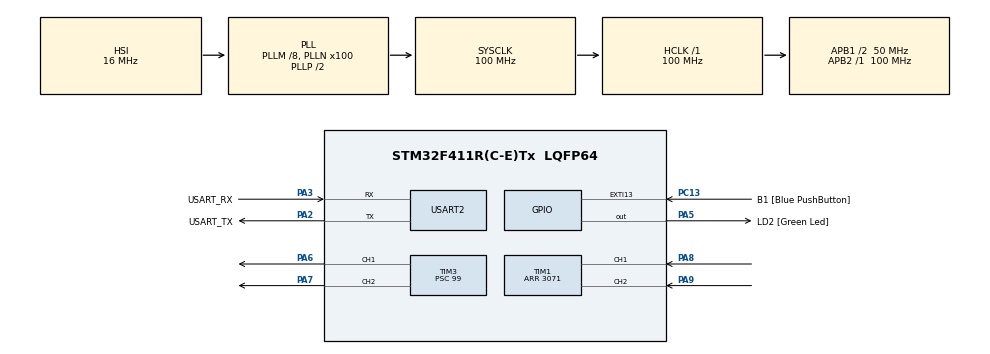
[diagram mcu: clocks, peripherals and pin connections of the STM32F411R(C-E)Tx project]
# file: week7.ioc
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Mcu.Family=STM32F4
Mcu.Name=STM32F411R(C-E)Tx
Mcu.Package=LQFP64
NVIC.PriorityGroup=NVIC_PRIORITYGROUP_0
PA13.GPIO_Label=TMS
PA13.Mode=Serial_Wire
PA13.Signal=SYS_JTMS-SWDIO
PA14.GPIO_Label=TCK
PA14.Mode=Serial_Wire
PA14.Signal=SYS_JTCK-SWCLK
PA2.GPIO_Label=USART_TX
PA2.Mode=Asynchronous
PA2.Signal=USART2_TX
PA3.GPIO_Label=USART_RX
PA3.Mode=Asynchronous
PA3.Signal=USART2_RX
PA5.GPIO_Label=LD2 [Green Led]
PA5.Signal=GPIO_Output
PA6.Signal=S_TIM3_CH1
PA7.Signal=S_TIM3_CH2
PA8.Signal=S_TIM1_CH1
PA9.Signal=S_TIM1_CH2
PB3.GPIO_Label=SWO
PB3.Signal=SYS_JTDO-SWO
PC13-ANTI_TAMP.GPIO_Label=B1 [Blue PushButton]
PC13-ANTI_TAMP.GPIO_ModeDefaultEXTI=GPIO_MODE_IT_FALLING
PC13-ANTI_TAMP.Signal=GPXTI13
PC14-OSC32_IN.Mode=LSE-External-Oscillator
PC14-OSC32_IN.Signal=RCC_OSC32_IN
PC15-OSC32_OUT.Mode=LSE-External-Oscillator
PC15-OSC32_OUT.Signal=RCC_OSC32_OUT
PH0\ -\ OSC_IN.Mode=HSE-External-Clock-Source
PH0\ -\ OSC_IN.Signal=RCC_OSC_IN
PH1\ -\ OSC_OUT.Mode=HSE-External-Clock-Source
PH1\ -\ OSC_OUT.Signal=RCC_OSC_OUT
ProjectManager.HeapSize=0x200
ProjectManager.StackSize=0x400
ProjectManager.TargetToolchain=STM32CubeIDE
RCC.48MHZClocksFreq_Value=50000000
RCC.AHBFreq_Value=100000000
RCC.APB1CLKDivider=RCC_HCLK_DIV2
RCC.APB1Freq_Value=50000000
RCC.APB1TimFreq_Value=100000000
RCC.APB2Freq_Value=100000000
RCC.APB2TimFreq_Value=100000000
RCC.CortexFreq_Value=100000000
RCC.FLatency-AdvancedSettings=FLASH_LATENCY_3
RCC.HCLKFreq_Value=100000000
RCC.HSE_VALUE=8000000
RCC.HSI_VALUE=16000000
RCC.PLLM=8
RCC.PLLN=100
RCC.SYSCLKFreq_VALUE=100000000
RCC.SYSCLKSource=RCC_SYSCLKSOURCE_PLLCLK
RCC.VCOOutputFreq_Value=200000000
SH.S_TIM1_CH1.0=TIM1_CH1,Encoder_Interface
SH.S_TIM1_CH2.0=TIM1_CH2,Encoder_Interface
SH.S_TIM3_CH1.0=TIM3_CH1,PWM Generation1 CH1
SH.S_TIM3_CH2.0=TIM3_CH2,PWM Generation2 CH2
TIM1.Period=3071
TIM2.Prescaler=99
TIM3.Channel-PWM\ Generation1\ CH1=TIM_CHANNEL_1
TIM3.Channel-PWM\ Generation2\ CH2=TIM_CHANNEL_2
TIM3.Period=10000
TIM3.Prescaler=99
USART2.VirtualMode=VM_ASYNC
VP_TIM2_VS_ClockSourceINT.Mode=Internal
VP_TIM3_VS_ClockSourceINT.Mode=Internal
board=NUCLEO-F411RE

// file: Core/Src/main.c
/* USER CODE BEGIN Header */
/**
 ******************************************************************************
 * @file           : main.c
 * @brief          : Main program body
 ******************************************************************************
 * @attention
 *
 * <h2><center>&copy; Copyright (c) 2021 STMicroelectronics.
 * All rights reserved.</center></h2>
 *
 * This software component is licensed by ST under BSD 3-Clause license,
 * the "License"; You may not use this file except in compliance with the
 * License. You may obtain a copy of the License at:
 *                        opensource.org/licenses/BSD-3-Clause
 *
 ******************************************************************************
 */
/* USER CODE END Header */
#include "main.h"

TIM_HandleTypeDef htim1;
TIM_HandleTypeDef htim2;
TIM_HandleTypeDef htim3;

UART_HandleTypeDef huart2;

/* USER CODE BEGIN PV */
uint64_t _micros = 0;
float EncoderVel = 0;
uint64_t Timestamp_Encoder = 0;
int RPMinput = 0;
float error[2] = {0};
float sumerror = 0;
int Kp = 0;
int Kd = 0;
int Ki = 0;
float outputPWM[3] = {0};
float RPMcheck = 0;
/* USER CODE END PV */

void SystemClock_Config(void);
static void MX_GPIO_Init(void);
static void MX_USART2_UART_Init(void);
static void MX_TIM1_Init(void);
static void MX_TIM2_Init(void);
static void MX_TIM3_Init(void);
/* USER CODE BEGIN PFP */
uint64_t micros();
float EncoderVelocity_Update();

/* USER CODE END PFP */

int main(void)
{

  /* MCU Configuration--------------------------------------------------------*/

  /* Reset of all peripherals, Initializes the Flash interface and the Systick. */
  HAL_Init();

  /* Configure the system clock */
  SystemClock_Config();

  /* Initialize all configured peripherals */
  MX_GPIO_Init();
  MX_USART2_UART_Init();
  MX_TIM1_Init();
  MX_TIM2_Init();
  MX_TIM3_Init();
  /* USER CODE BEGIN 2 */
	HAL_TIM_Base_Start_IT(&htim2);
	HAL_TIM_Encoder_Start(&htim1, TIM_CHANNEL_ALL);
	HAL_TIM_Base_Start(&htim3);
	HAL_TIM_PWM_Start(&htim3, TIM_CHANNEL_1);
	HAL_TIM_PWM_Start(&htim3, TIM_CHANNEL_2);
  /* USER CODE END 2 */

  /* Infinite loop */
	while (1)
	{

    /* USER CODE BEGIN 3 */

		//RAW Read
		if (micros() - Timestamp_Encoder >= 1000)
		{
			Timestamp_Encoder = micros();

			EncoderVel = (EncoderVel * 99 + EncoderVelocity_Update()) / 100.0;
			RPMcheck = ((RPMcheck * 99 + EncoderVel/3072) / 100);
			error[1] = (RPMinput) - RPMcheck;
			sumerror += error[1];
			outputPWM[0] = (Kp*error[1]) + (Ki*sumerror) + Kd*(error[1]-error[0]);
			error[0] = error[1];
			if(RPMinput == 0){
				outputPWM[1] = 0;
				outputPWM[2] = 0;
			}else if(RPMinput > 0){
				outputPWM[1] = outputPWM[0];
				outputPWM[2] = 0;
			}else if(outputPWM[0] < 0){
				outputPWM[1] = 0;
				outputPWM[2] = (outputPWM[0])*-1;
			}
			__HAL_TIM_SET_COMPARE(&htim3, TIM_CHANNEL_1, outputPWM[1]);
			__HAL_TIM_SET_COMPARE(&htim3, TIM_CHANNEL_2, outputPWM[2]);
		}

		//Add LPF?
//		if (micros() - Timestamp_Encoder >= 100)
//		{
//			Timestamp_Encoder = micros();
//			EncoderVel = (EncoderVel * 99 + EncoderVelocity_Update()) / 100.0;
//		}

	}
  /* USER CODE END 3 */
}

void SystemClock_Config(void)
{
  RCC_OscInitTypeDef RCC_OscInitStruct = {0};
  RCC_ClkInitTypeDef RCC_ClkInitStruct = {0};

  /** Configure the main internal regulator output voltage
  */
  __HAL_RCC_PWR_CLK_ENABLE();
  __HAL_PWR_VOLTAGESCALING_CONFIG(PWR_REGULATOR_VOLTAGE_SCALE1);
  /** Initializes the RCC Oscillators according to the specified parameters
  * in the RCC_OscInitTypeDef structure.
  */
  RCC_OscInitStruct.OscillatorType = RCC_OSCILLATORTYPE_HSI;
  RCC_OscInitStruct.HSIState = RCC_HSI_ON;
  RCC_OscInitStruct.HSICalibrationValue = RCC_HSICALIBRATION_DEFAULT;
  RCC_OscInitStruct.PLL.PLLState = RCC_PLL_ON;
  RCC_OscInitStruct.PLL.PLLSource = RCC_PLLSOURCE_HSI;
  RCC_OscInitStruct.PLL.PLLM = 8;
  RCC_OscInitStruct.PLL.PLLN = 100;
  RCC_OscInitStruct.PLL.PLLP = RCC_PLLP_DIV2;
  RCC_OscInitStruct.PLL.PLLQ = 4;
  if (HAL_RCC_OscConfig(&RCC_OscInitStruct) != HAL_OK)
  {
    Error_Handler();
  }
  /** Initializes the CPU, AHB and APB buses clocks
  */
  RCC_ClkInitStruct.ClockType = RCC_CLOCKTYPE_HCLK|RCC_CLOCKTYPE_SYSCLK
                              |RCC_CLOCKTYPE_PCLK1|RCC_CLOCKTYPE_PCLK2;
  RCC_ClkInitStruct.SYSCLKSource = RCC_SYSCLKSOURCE_PLLCLK;
  RCC_ClkInitStruct.AHBCLKDivider = RCC_SYSCLK_DIV1;
  RCC_ClkInitStruct.APB1CLKDivider = RCC_HCLK_DIV2;
  RCC_ClkInitStruct.APB2CLKDivider = RCC_HCLK_DIV1;

  if (HAL_RCC_ClockConfig(&RCC_ClkInitStruct, FLASH_LATENCY_3) != HAL_OK)
  {
    Error_Handler();
  }
}

static void MX_TIM1_Init(void)
{

  TIM_Encoder_InitTypeDef sConfig = {0};
  TIM_MasterConfigTypeDef sMasterConfig = {0};

  htim1.Instance = TIM1;
  htim1.Init.Prescaler = 0;
  htim1.Init.CounterMode = TIM_COUNTERMODE_UP;
  htim1.Init.Period = 3071;
  htim1.Init.ClockDivision = TIM_CLOCKDIVISION_DIV1;
  htim1.Init.RepetitionCounter = 0;
  htim1.Init.AutoReloadPreload = TIM_AUTORELOAD_PRELOAD_DISABLE;
  sConfig.EncoderMode = TIM_ENCODERMODE_TI1;
  sConfig.IC1Polarity = TIM_ICPOLARITY_RISING;
  sConfig.IC1Selection = TIM_ICSELECTION_DIRECTTI;
  sConfig.IC1Prescaler = TIM_ICPSC_DIV1;
  sConfig.IC1Filter = 0;
  sConfig.IC2Polarity = TIM_ICPOLARITY_RISING;
  sConfig.IC2Selection = TIM_ICSELECTION_DIRECTTI;
  sConfig.IC2Prescaler = TIM_ICPSC_DIV1;
  sConfig.IC2Filter = 0;
  if (HAL_TIM_Encoder_Init(&htim1, &sConfig) != HAL_OK)
  {
    Error_Handler();
  }
  sMasterConfig.MasterOutputTrigger = TIM_TRGO_RESET;
  sMasterConfig.MasterSlaveMode = TIM_MASTERSLAVEMODE_DISABLE;
  if (HAL_TIMEx_MasterConfigSynchronization(&htim1, &sMasterConfig) != HAL_OK)
  {
    Error_Handler();
  }

}

static void MX_TIM2_Init(void)
{

  TIM_ClockConfigTypeDef sClockSourceConfig = {0};
  TIM_MasterConfigTypeDef sMasterConfig = {0};

  htim2.Instance = TIM2;
  htim2.Init.Prescaler = 99;
  htim2.Init.CounterMode = TIM_COUNTERMODE_UP;
  htim2.Init.Period = 4294967295;
  htim2.Init.ClockDivision = TIM_CLOCKDIVISION_DIV1;
  htim2.Init.AutoReloadPreload = TIM_AUTORELOAD_PRELOAD_DISABLE;
  if (HAL_TIM_Base_Init(&htim2) != HAL_OK)
  {
    Error_Handler();
  }
  sClockSourceConfig.ClockSource = TIM_CLOCKSOURCE_INTERNAL;
  if (HAL_TIM_ConfigClockSource(&htim2, &sClockSourceConfig) != HAL_OK)
  {
    Error_Handler();
  }
  sMasterConfig.MasterOutputTrigger = TIM_TRGO_RESET;
  sMasterConfig.MasterSlaveMode = TIM_MASTERSLAVEMODE_DISABLE;
  if (HAL_TIMEx_MasterConfigSynchronization(&htim2, &sMasterConfig) != HAL_OK)
  {
    Error_Handler();
  }

}

static void MX_TIM3_Init(void)
{

  TIM_ClockConfigTypeDef sClockSourceConfig = {0};
  TIM_MasterConfigTypeDef sMasterConfig = {0};
  TIM_OC_InitTypeDef sConfigOC = {0};

  htim3.Instance = TIM3;
  htim3.Init.Prescaler = 99;
  htim3.Init.CounterMode = TIM_COUNTERMODE_UP;
  htim3.Init.Period = 10000;
  htim3.Init.ClockDivision = TIM_CLOCKDIVISION_DIV1;
  htim3.Init.AutoReloadPreload = TIM_AUTORELOAD_PRELOAD_DISABLE;
  if (HAL_TIM_Base_Init(&htim3) != HAL_OK)
  {
    Error_Handler();
  }
  sClockSourceConfig.ClockSource = TIM_CLOCKSOURCE_INTERNAL;
  if (HAL_TIM_ConfigClockSource(&htim3, &sClockSourceConfig) != HAL_OK)
  {
    Error_Handler();
  }
  if (HAL_TIM_PWM_Init(&htim3) != HAL_OK)
  {
    Error_Handler();
  }
  sMasterConfig.MasterOutputTrigger = TIM_TRGO_RESET;
  sMasterConfig.MasterSlaveMode = TIM_MASTERSLAVEMODE_DISABLE;
  if (HAL_TIMEx_MasterConfigSynchronization(&htim3, &sMasterConfig) != HAL_OK)
  {
    Error_Handler();
  }
  sConfigOC.OCMode = TIM_OCMODE_PWM1;
  sConfigOC.Pulse = 0;
  sConfigOC.OCPolarity = TIM_OCPOLARITY_HIGH;
  sConfigOC.OCFastMode = TIM_OCFAST_DISABLE;
  if (HAL_TIM_PWM_ConfigChannel(&htim3, &sConfigOC, TIM_CHANNEL_1) != HAL_OK)
  {
    Error_Handler();
  }
  if (HAL_TIM_PWM_ConfigChannel(&htim3, &sConfigOC, TIM_CHANNEL_2) != HAL_OK)
  {
    Error_Handler();
  }
  HAL_TIM_MspPostInit(&htim3);

}

static void MX_USART2_UART_Init(void)
{

  huart2.Instance = USART2;
  huart2.Init.BaudRate = 115200;
  huart2.Init.WordLength = UART_WORDLENGTH_8B;
  huart2.Init.StopBits = UART_STOPBITS_1;
  huart2.Init.Parity = UART_PARITY_NONE;
  huart2.Init.Mode = UART_MODE_TX_RX;
  huart2.Init.HwFlowCtl = UART_HWCONTROL_NONE;
  huart2.Init.OverSampling = UART_OVERSAMPLING_16;
  if (HAL_UART_Init(&huart2) != HAL_OK)
  {
    Error_Handler();
  }

}

static void MX_GPIO_Init(void)
{
  GPIO_InitTypeDef GPIO_InitStruct = {0};

  /* GPIO Ports Clock Enable */
  __HAL_RCC_GPIOC_CLK_ENABLE();
  __HAL_RCC_GPIOH_CLK_ENABLE();
  __HAL_RCC_GPIOA_CLK_ENABLE();
  __HAL_RCC_GPIOB_CLK_ENABLE();

  /*Configure GPIO pin Output Level */
  HAL_GPIO_WritePin(LD2_GPIO_Port, LD2_Pin, GPIO_PIN_RESET);

  /*Configure GPIO pin : B1_Pin */
  GPIO_InitStruct.Pin = B1_Pin;
  GPIO_InitStruct.Mode = GPIO_MODE_IT_FALLING;
  GPIO_InitStruct.Pull = GPIO_NOPULL;
  HAL_GPIO_Init(B1_GPIO_Port, &GPIO_InitStruct);

  /*Configure GPIO pin : LD2_Pin */
  GPIO_InitStruct.Pin = LD2_Pin;
  GPIO_InitStruct.Mode = GPIO_MODE_OUTPUT_PP;
  GPIO_InitStruct.Pull = GPIO_NOPULL;
  GPIO_InitStruct.Speed = GPIO_SPEED_FREQ_LOW;
  HAL_GPIO_Init(LD2_GPIO_Port, &GPIO_InitStruct);

}

/* USER CODE BEGIN 4 */
#define  HTIM_ENCODER htim1
#define  MAX_SUBPOSITION_OVERFLOW 1536
#define  MAX_ENCODER_PERIOD 3072

float EncoderVelocity_Update()
{
	//Save Last state
	static uint32_t EncoderLastPosition = 0;
	static uint64_t EncoderLastTimestamp = 0;

	//read data
	uint32_t EncoderNowPosition = HTIM_ENCODER.Instance->CNT;
	uint64_t EncoderNowTimestamp = micros();

	int32_t EncoderPositionDiff;
	uint64_t EncoderTimeDiff;

	EncoderTimeDiff = EncoderNowTimestamp - EncoderLastTimestamp;
	EncoderPositionDiff = EncoderNowPosition - EncoderLastPosition;

	//compensate overflow and underflow
	if (EncoderPositionDiff >= MAX_SUBPOSITION_OVERFLOW)
	{
		EncoderPositionDiff -= MAX_ENCODER_PERIOD;
	}
	else if (-EncoderPositionDiff >= MAX_SUBPOSITION_OVERFLOW)
	{
		EncoderPositionDiff += MAX_ENCODER_PERIOD;
	}

	//Update Position and time
	EncoderLastPosition = EncoderNowPosition;
	EncoderLastTimestamp = EncoderNowTimestamp;

	//Calculate velocity
	//EncoderTimeDiff is in uS
	return (EncoderPositionDiff * 1000000 * 60) / (float) EncoderTimeDiff;

}

void HAL_TIM_PeriodElapsedCallback(TIM_HandleTypeDef *htim)
{
	if (htim == &htim2)
	{
		_micros += 4294967295;
	}
}
uint64_t micros()
{
	return _micros + htim2.Instance->CNT;
}
/* USER CODE END 4 */

void Error_Handler(void)
{
	__disable_irq();
	while (1)
	{
	}
}

/************************ (C) COPYRIGHT STMicroelectronics *****END OF FILE****/
